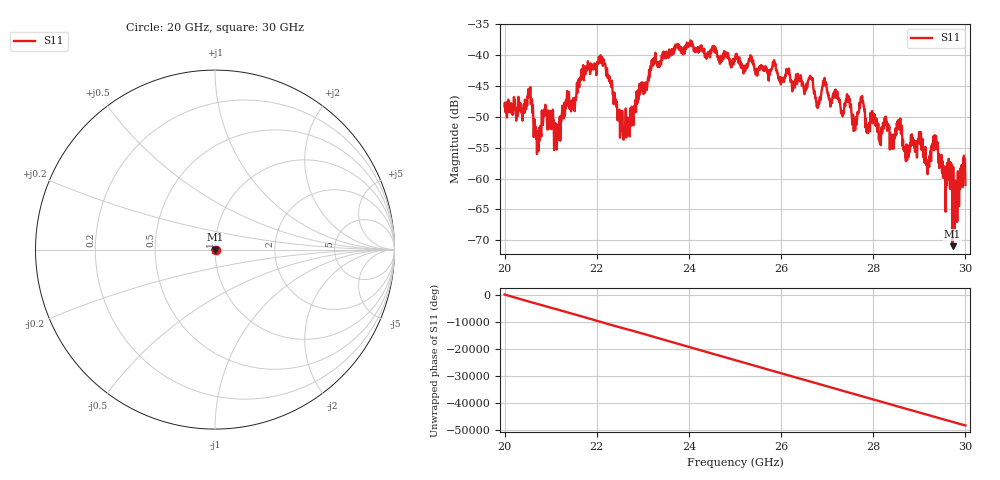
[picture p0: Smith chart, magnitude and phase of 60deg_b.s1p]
#  HZ  S  RI  R  50.00
! Rohde & Schwarz ZVA40 4Ports - Version 3.90 - 1145.1110k42 SN: 100403
! Date: 2023-10-03 12:59:54
! Measurement: S12
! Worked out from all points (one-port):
!   5001 points, 20 GHz to 30 GHz, reference 50 ohm
!   lowest |S11| = -71.0 dB at 29.72 GHz (marker M1), VSWR 1.00, Z = 50 - j0.028 ohm
!   |S11| at or under -10 dB: start of sweep to end of sweep
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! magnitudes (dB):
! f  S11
! 20 GHz  -48.3
! 20.55 GHz  -46.7
! 20.72 GHz  -53.0
! 20.86 GHz  -49.7
! 21.12 GHz  -52.1
! 21.25 GHz  -48.7
! 22.07 GHz  -41.0
! 22.5 GHz  -51.3
! 22.75 GHz  -49.3
! 23.23 GHz  -40.9
! 23.75 GHz  -38.6
! 25 GHz  -40.5
! 26.25 GHz  -45.4
! 26.94 GHz  -43.7
! 27.5 GHz  -48.2
! 27.6 GHz  -51.1
! 27.77 GHz  -47.3
! 27.88 GHz  -52.6
! 28.28 GHz  -51.0
! 28.41 GHz  -53.8
! 28.56 GHz  -51.0
! 28.75 GHz  -55.8
! 29.02 GHz  -53.3
! 29.19 GHz  -57.1
! 29.35 GHz  -54.5
! 29.72 GHz  -71.0
! 29.8 GHz  -63.4
! 30 GHz  -61.0
